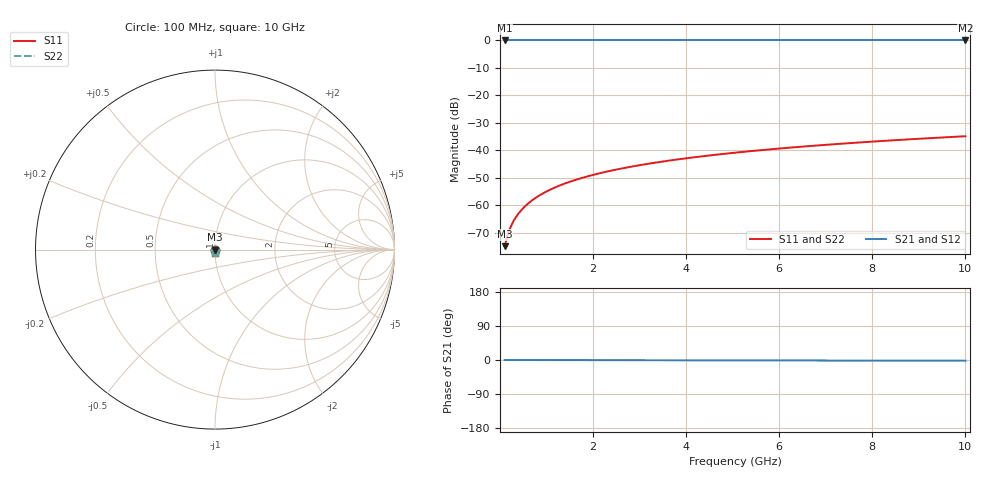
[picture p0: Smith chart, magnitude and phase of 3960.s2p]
# Hz S RI R 50.00
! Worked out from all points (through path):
!   100 points, 100 MHz to 10 GHz, reference 50 ohm
!   highest |S21| = 0.00 dB at 100 MHz (marker M1); lowest = 0.0 dB at 10 GHz (marker M2)
!   lowest |S11| = -74.9 dB at 100 MHz (marker M3), VSWR 1.00, Z = 50 - j0.0178 ohm
!   |S11| at or under -10 dB: start of sweep to end of sweep
!   |S22| runs from -74.9 to -34.9 dB; largest |S21 - S12| = 0
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1e8  2.54e-05 -0.000178  1 -0.000331  1 -0.000331  2.54e-05 -0.000178
2e8  2.52e-05 -0.000356  1 -0.000663  1 -0.000663  2.52e-05 -0.000356
3e8  2.48e-05 -0.000534  1 -0.000994  1 -0.000994  2.48e-05 -0.000534
4e8  2.42e-05 -0.000712  1 -0.00133  1 -0.00133  2.42e-05 -0.000712
5e8  2.35e-05 -0.00089  1 -0.00166  1 -0.00166  2.35e-05 -0.00089
6e8  2.27e-05 -0.00107  1 -0.00199  1 -0.00199  2.27e-05 -0.00107
7e8  2.18e-05 -0.00125  1 -0.00232  1 -0.00232  2.18e-05 -0.00125
8e8  2.07e-05 -0.00142  1 -0.00265  1 -0.00265  2.07e-05 -0.00142
9e8  1.95e-05 -0.0016  1 -0.00298  1 -0.00298  1.95e-05 -0.0016
1.1e9  1.68e-05 -0.00196  1 -0.00365  1 -0.00365  1.68e-05 -0.00196
1.4e9  1.18e-05 -0.0025  1 -0.00464  1 -0.00464  1.18e-05 -0.0025
1.8e9  3.44e-06 -0.00321  0.9999 -0.00597  0.9999 -0.00597  3.44e-06 -0.00321
2.1e9  -4.1e-06 -0.00375  0.9999 -0.00697  0.9999 -0.00697  -4.1e-06 -0.00375
2.5e9  -1.58e-05 -0.00446  0.9999 -0.0083  0.9999 -0.0083  -1.58e-05 -0.00446
2.9e9  -2.95e-05 -0.00518  0.9999 -0.00963  0.9999 -0.00963  -2.95e-05 -0.00518
3.4e9  -4.93e-05 -0.00608  0.9999 -0.0113  0.9999 -0.0113  -4.93e-05 -0.00608
4.2e9  -8.73e-05 -0.00751  0.9998 -0.014  0.9998 -0.014  -8.73e-05 -0.00751
5.1e9  -0.000139 -0.00914  0.9998 -0.017  0.9998 -0.017  -0.000139 -0.00914
5.9e9  -0.000194 -0.0106  0.9997 -0.0197  0.9997 -0.0197  -0.000194 -0.0106
6.7e9  -0.000257 -0.012  0.9996 -0.0224  0.9996 -0.0224  -0.000257 -0.012
8.4e9  -0.000416 -0.0151  0.9994 -0.0281  0.9994 -0.0281  -0.000416 -0.0151
1e10  -0.0006 -0.018  0.9992 -0.0335  0.9992 -0.0335  -0.0006 -0.018
